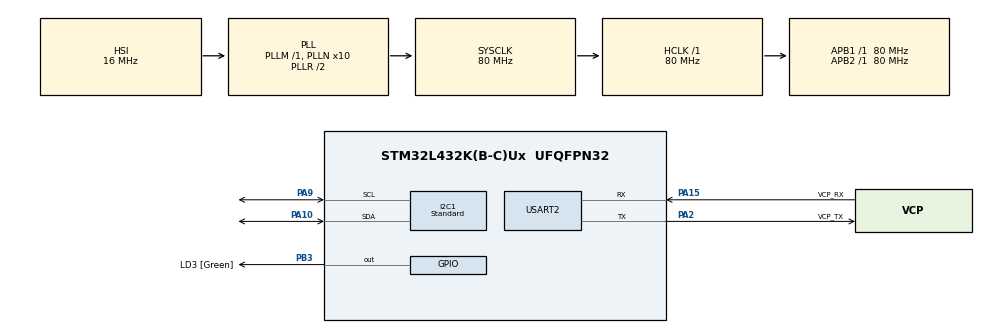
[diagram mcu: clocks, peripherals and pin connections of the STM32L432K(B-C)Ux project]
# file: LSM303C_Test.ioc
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I2C1.I2C_Speed_Mode=I2C_Standard
I2C1.Timing=0x10909CEC
Mcu.Family=STM32L4
Mcu.Name=STM32L432K(B-C)Ux
Mcu.Package=UFQFPN32
NVIC.PriorityGroup=NVIC_PRIORITYGROUP_4
PA10.Mode=I2C
PA10.Signal=I2C1_SDA
PA13\ (JTMS-SWDIO).GPIO_Label=SWDIO
PA13\ (JTMS-SWDIO).Mode=Serial_Wire
PA13\ (JTMS-SWDIO).Signal=SYS_JTMS-SWDIO
PA14\ (JTCK-SWCLK).GPIO_Label=SWCLK
PA14\ (JTCK-SWCLK).Mode=Serial_Wire
PA14\ (JTCK-SWCLK).Signal=SYS_JTCK-SWCLK
PA15\ (JTDI).GPIO_Label=VCP_RX
PA15\ (JTDI).Mode=Asynchronous
PA15\ (JTDI).Signal=USART2_RX
PA2.GPIO_Label=VCP_TX
PA2.Mode=Asynchronous
PA2.Signal=USART2_TX
PA9.Mode=I2C
PA9.Signal=I2C1_SCL
PB3\ (JTDO-TRACESWO).GPIO_Label=LD3 [Green]
PB3\ (JTDO-TRACESWO).Signal=GPIO_Output
ProjectManager.HeapSize=0x200
ProjectManager.StackSize=0x400
ProjectManager.TargetToolchain=STM32CubeIDE
RCC.ADCFreq_Value=64000000
RCC.AHBFreq_Value=80000000
RCC.APB1Freq_Value=80000000
RCC.APB1TimFreq_Value=80000000
RCC.APB2Freq_Value=80000000
RCC.APB2TimFreq_Value=80000000
RCC.CortexFreq_Value=80000000
RCC.HCLKFreq_Value=80000000
RCC.HSE_VALUE=8000000
RCC.HSI16_VALUE=16000000
RCC.HSI48_VALUE=48000000
RCC.HSI_VALUE=16000000
RCC.MSI_VALUE=4000000
RCC.PLLMUL=RCC_PLLMUL_4
RCC.PLLN=10
RCC.PLLSourceVirtual=RCC_PLLSOURCE_HSI
RCC.SYSCLKFreq_VALUE=80000000
RCC.SYSCLKSource=RCC_SYSCLKSOURCE_PLLCLK
RCC.USBFreq_Value=64000000
RCC.VCOOutputFreq_Value=160000000
USART2.VirtualMode-Asynchronous=VM_ASYNC
board=NUCLEO-L432KC

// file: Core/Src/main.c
/* USER CODE BEGIN Header */
/**
  ******************************************************************************
  * @file           : main.c
  * @brief          : Main program body
  ******************************************************************************
  * @attention
  *
  * Copyright (c) 2024 STMicroelectronics.
  * All rights reserved.
  *
  * This software is licensed under terms that can be found in the LICENSE file
  * in the root directory of this software component.
  * If no LICENSE file comes with this software, it is provided AS-IS.
  *
  ******************************************************************************
  */
/* USER CODE END Header */
#include "main.h"
#include "i2c.h"
#include "usart.h"
#include "gpio.h"

/* USER CODE BEGIN Includes */

#include <stdio.h>
#include <string.h>
#include <stdlib.h>

/* USER CODE END Includes */

/* USER CODE BEGIN PV */

extern I2C_HandleTypeDef hi2c1;
extern UART_HandleTypeDef huart2;

/* USER CODE END PV */

void SystemClock_Config(void);

int main(void)
{

  /* MCU Configuration--------------------------------------------------------*/

  /* Reset of all peripherals, Initializes the Flash interface and the Systick. */
  HAL_Init();

  /* Configure the system clock */
  SystemClock_Config();

  /* Initialize all configured peripherals */
  MX_GPIO_Init();
  MX_USART2_UART_Init();
  MX_I2C1_Init();
  /* USER CODE BEGIN 2 */

  uint8_t CTRL_REGx_A[8] = {0x20, 0x3F, 0x00, 0x00, 0x34, 0x00, 0x00, 0x00}; //init array

//  uint8_t STATUS_REG_A_reg = 0x27;
//  uint8_t STATUS_REG_A_val = 0x00;

  uint8_t OUT_X_reg = 0x28;
  int16_t OUT_X_val = 0x00;
  double accX = 0;

  uint8_t OUT_Y_reg = 0x2A;
  int16_t OUT_Y_val = 0x00;
  double accY = 0;

  uint8_t OUT_Z_reg = 0x2C;
  int16_t OUT_Z_val = 0x00;
  double accZ = 0;

  int16_t accActive = 0;
  int16_t accActiveOld = 0;

  int16_t accDelta = 0;

  uint8_t str[50] = "";

  HAL_I2C_Master_Transmit(&hi2c1, 0x3A, CTRL_REGx_A, sizeof(CTRL_REGx_A), HAL_MAX_DELAY);   //init

  /* USER CODE END 2 */

  /* Infinite loop */
  /* USER CODE BEGIN WHILE */
  while (1)
  {
      HAL_I2C_Master_Transmit(&hi2c1, 0x3A, &OUT_X_reg, 1, HAL_MAX_DELAY);
      HAL_I2C_Master_Receive(&hi2c1, 0x3A, (uint8_t *)&OUT_X_val, 2, HAL_MAX_DELAY);
      accX = OUT_X_val * 0.244; //[accX]mg = LSB * 0.244mg/LSB

      HAL_I2C_Master_Transmit(&hi2c1, 0x3A, &OUT_Y_reg, 1, HAL_MAX_DELAY);
      HAL_I2C_Master_Receive(&hi2c1, 0x3A, (uint8_t *)&OUT_Y_val, 2, HAL_MAX_DELAY);
      accY = OUT_Y_val * 0.244; //[accY]mg = LSB * 0.244mg/LSB

      HAL_I2C_Master_Transmit(&hi2c1, 0x3A, &OUT_Z_reg, 1, HAL_MAX_DELAY);
      HAL_I2C_Master_Receive(&hi2c1, 0x3A, (uint8_t *)&OUT_Z_val, 2, HAL_MAX_DELAY);
      accZ = OUT_Z_val * 0.244; //[accZ]mg = LSB * 0.244mg/LSB

      accActive = (int16_t)(accX+accY+accZ);

      accDelta = abs(accActive - accActiveOld);

      accActiveOld = accActive;

      sprintf((char *)str, "accX:%+07.1fmg, accY:%+07.1fmg, accZ:%+07.1fmg\r\n", accX, accY, accZ);
//      sprintf((char *)str, "%f\t%f\t%f\t%d\r\n", accX, accY, accZ, accActive);
//      sprintf((char *)str, "%d\t\r\n", accDelta);
      HAL_UART_Transmit(&huart2, str, strlen((char *)str), HAL_MAX_DELAY);

      HAL_Delay(20);

    /* USER CODE END WHILE */

  }
}

void SystemClock_Config(void)
{
  RCC_OscInitTypeDef RCC_OscInitStruct = {0};
  RCC_ClkInitTypeDef RCC_ClkInitStruct = {0};

  /** Configure the main internal regulator output voltage
  */
  if (HAL_PWREx_ControlVoltageScaling(PWR_REGULATOR_VOLTAGE_SCALE1) != HAL_OK)
  {
    Error_Handler();
  }

  /** Initializes the RCC Oscillators according to the specified parameters
  * in the RCC_OscInitTypeDef structure.
  */
  RCC_OscInitStruct.OscillatorType = RCC_OSCILLATORTYPE_HSI;
  RCC_OscInitStruct.HSIState = RCC_HSI_ON;
  RCC_OscInitStruct.HSICalibrationValue = RCC_HSICALIBRATION_DEFAULT;
  RCC_OscInitStruct.PLL.PLLState = RCC_PLL_ON;
  RCC_OscInitStruct.PLL.PLLSource = RCC_PLLSOURCE_HSI;
  RCC_OscInitStruct.PLL.PLLM = 1;
  RCC_OscInitStruct.PLL.PLLN = 10;
  RCC_OscInitStruct.PLL.PLLP = RCC_PLLP_DIV7;
  RCC_OscInitStruct.PLL.PLLQ = RCC_PLLQ_DIV2;
  RCC_OscInitStruct.PLL.PLLR = RCC_PLLR_DIV2;
  if (HAL_RCC_OscConfig(&RCC_OscInitStruct) != HAL_OK)
  {
    Error_Handler();
  }

  /** Initializes the CPU, AHB and APB buses clocks
  */
  RCC_ClkInitStruct.ClockType = RCC_CLOCKTYPE_HCLK|RCC_CLOCKTYPE_SYSCLK
                              |RCC_CLOCKTYPE_PCLK1|RCC_CLOCKTYPE_PCLK2;
  RCC_ClkInitStruct.SYSCLKSource = RCC_SYSCLKSOURCE_PLLCLK;
  RCC_ClkInitStruct.AHBCLKDivider = RCC_SYSCLK_DIV1;
  RCC_ClkInitStruct.APB1CLKDivider = RCC_HCLK_DIV1;
  RCC_ClkInitStruct.APB2CLKDivider = RCC_HCLK_DIV1;

  if (HAL_RCC_ClockConfig(&RCC_ClkInitStruct, FLASH_LATENCY_4) != HAL_OK)
  {
    Error_Handler();
  }
}

void Error_Handler(void)
{
  __disable_irq();
  while (1)
  {
  }
}
